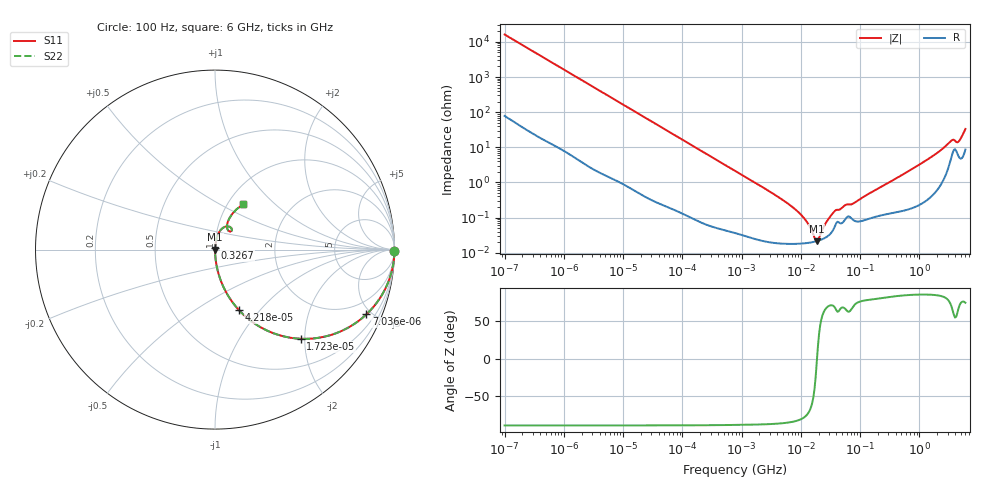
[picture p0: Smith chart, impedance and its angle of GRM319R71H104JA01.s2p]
!Murata Part Number: GRM319R71H104JA01
!These Parameters are Measured in Series Mode Connection
!Data Generated on Mar 30, 2021
!  o--ll--o
!Port1  Port2
!  o------o
!Operation Temp=25[degC], DC Bias Voltage=0[V]
!Freq. Start=100[Hz] Stop=6[GHz] 401[Steps]
# Hz S RI R 50
!Freq.(Hz) S11(Real) S11(Imag) S21(Real) S21(Imag) S12(Real) S12(Imag) S22(Real) S22(Imag)
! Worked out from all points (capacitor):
!   401 points, 100 Hz to 6 GHz, reference 50 ohm
!   read as one part in series: C = 98 nF near 109 Hz
!   lowest |Z| = 21.5 mohm at 18.61 MHz (marker M1)
!   series resonance near 18.77 MHz, so ESL is about 730 pH
!   S11 on the Smith chart (normalised r, x): 100 Hz: open; 7.036 kHz: 1.02, -4.67; 17.23 kHz: 1.01, -1.91; 42.18 kHz: 1.00, -0.78; 326.7 MHz: 1.00, +0.02; 6 GHz: 1.17, +0.65
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100  0.9999 -0.00617  6.78e-05 0.00617  6.78e-05 0.00617  0.9999 -0.00617
2008  0.9846 -0.1208  0.0154 0.1208  0.0154 0.1208  0.9846 -0.1208
7036  0.8435 -0.3608  0.1565 0.3608  0.1565 0.3608  0.8435 -0.3608
17227  0.4776 -0.4967  0.5224 0.4967  0.5224 0.4967  0.4776 -0.4967
40335  0.145 -0.349  0.855 0.349  0.855 0.349  0.145 -0.349
42182  0.1344 -0.338  0.8656 0.338  0.8656 0.338  0.1344 -0.338
147774  0.0134 -0.1107  0.9866 0.1107  0.9866 0.1107  0.0134 -0.1107
774597  0.00083 -0.0215  0.9992 0.0215  0.9992 0.0215  0.00083 -0.0215
7266822  0.000183 -0.00198  0.9998 0.00198  0.9998 0.00198  0.000183 -0.00198
1.137099e7  0.000186 -0.000945  0.9998 0.000945  0.9998 0.000945  0.000186 -0.000945
1.555665e7  0.0002 -0.000343  0.9998 0.000343  0.9998 0.000343  0.0002 -0.000343
1.86079e7  0.000214 -1.6e-05  0.9998 1.6e-05  0.9998 1.6e-05  0.000214 -1.6e-05
2.035112e7  0.000224 0.000148  0.9998 -0.000148  0.9998 -0.000148  0.000224 0.000148
2.784235e7  0.000289 0.000756  0.9997 -0.000756  0.9997 -0.000756  0.000289 0.000756
3.80911e7  0.000599 0.00147  0.9994 -0.00147  0.9994 -0.00147  0.000599 0.00147
7.797396e7  0.000846 0.00241  0.9992 -0.00241  0.9992 -0.00241  0.000846 0.00241
3.124326e8  0.0014 0.01  0.9986 -0.01  0.9986 -0.01  0.0014 0.01
3.267395e8  0.00142 0.0105  0.9986 -0.0105  0.9986 -0.0105  0.00142 0.0105
1.497423e9  0.00601 0.0489  0.994 -0.0489  0.994 -0.0489  0.00601 0.0489
3.352442e9  0.0569 0.1276  0.9431 -0.1276  0.9431 -0.1276  0.0569 0.1276
4.586474e9  0.0677 0.1175  0.9323 -0.1175  0.9323 -0.1175  0.0677 0.1175
6e9  0.1543 0.2513  0.8457 -0.2513  0.8457 -0.2513  0.1543 0.2513
